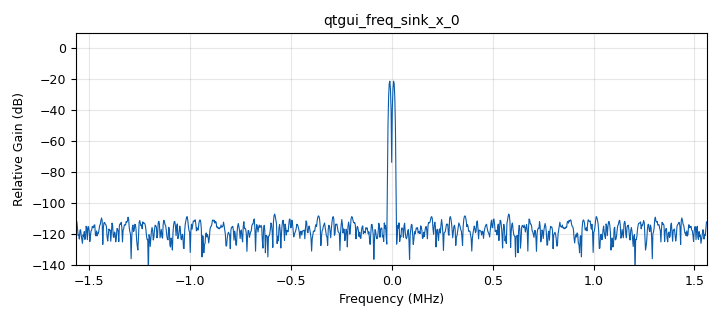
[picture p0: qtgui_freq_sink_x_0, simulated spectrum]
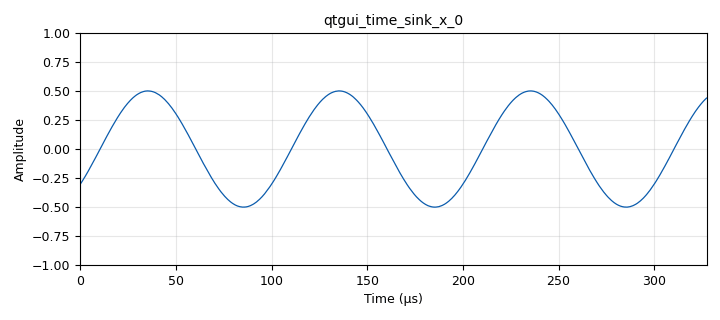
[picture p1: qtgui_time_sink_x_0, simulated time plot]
options:
  parameters:
    author: Daniel_Sarmiento_Kevin_Tellez
    generate_options: qt_gui
    id: LAB_2B
    output_language: python
    title: parte_2
  states: {}

blocks:
- name: A
  id: variable_qtgui_range
  parameters:
    label: 'Amplitud señal '
    start: '0'
    step: '1e-2'
    stop: '0.5'
    value: '0.5'
  states: {}
- name: GTX
  id: variable_qtgui_range
  parameters:
    label: Ganacia..transmisor
    start: '0'
    step: '0.5'
    stop: '30'
    value: '0.5'
  states: {}
- name: 'No'
  id: variable_qtgui_range
  parameters:
    label: 'Amplitud ruido '
    start: '0'
    step: '1e-6'
    stop: '1e-1'
    value: '1e-4'
  states: {}
- name: fc
  id: variable_qtgui_range
  parameters:
    label: Frecuencia portadora
    start: 50e6
    step: 1e5
    stop: 1e9
    value: 200e6
  states: {}
- name: fcut
  id: variable_qtgui_range
  parameters:
    start: '0'
    step: '100'
    stop: '1562500'
    value: '1562500'
  states: {}
- name: fm
  id: variable_qtgui_range
  parameters:
    label: 'Frecuencia de señal '
    start: '1000'
    step: '1000'
    stop: 1e6
    value: '10000'
  states: {}
- name: samp_rate
  id: variable
  parameters:
    value: '3125000'
  states: {}
- name: t_band
  id: variable_qtgui_range
  parameters:
    label: 'banda de trasmision '
    start: '0'
    step: '100'
    stop: '156250'
    value: '156250'
  states: {}
- name: analog_noise_source_x_0
  id: analog_noise_source_x
  parameters:
    amp: 'No'
    noise_type: analog.GR_GAUSSIAN
    seed: '0'
    type: float
  states: {}
- name: analog_sig_source_x_0
  id: analog_sig_source_x
  parameters:
    amp: A
    freq: fm
    offset: '0'
    phase: '0'
    samp_rate: samp_rate
    type: float
    waveform: analog.GR_COS_WAVE
  states: {}
- name: blocks_add_xx_1
  id: blocks_add_xx
  parameters:
    type: float
  states: {}
- name: blocks_float_to_complex_0
  id: blocks_float_to_complex
  parameters: {}
  states: {}
- name: blocks_throttle2_0
  id: blocks_throttle2
  parameters:
    samples_per_second: samp_rate
    type: float
  states: {}
- name: low_pass_filter_0
  id: low_pass_filter
  parameters:
    cutoff_freq: fcut
    decim: '1'
    gain: '1'
    samp_rate: samp_rate
    type: fir_filter_fff
    width: t_band
    win: window.WIN_HAMMING
  states: {}
- name: qtgui_freq_sink_x_0
  id: qtgui_freq_sink_x
  parameters:
    bw: samp_rate
    fc: '0'
    fftsize: '1024'
    type: float
  states: {}
- name: qtgui_time_sink_x_0
  id: qtgui_time_sink_x
  parameters:
    size: '1024'
    srate: samp_rate
    type: float
  states: {}
- name: uhd_usrp_sink_0
  id: uhd_usrp_sink
  parameters:
    ant0: '"TX/RX"'
    center_freq0: fc
    gain0: GTX
    samp_rate: samp_rate
    sync: pc_clock
    type: fc32
  states: {}

connections:
- [analog_noise_source_x_0, '0', blocks_add_xx_1, '1']
- [analog_sig_source_x_0, '0', blocks_throttle2_0, '0']
- [blocks_add_xx_1, '0', low_pass_filter_0, '0']
- [blocks_float_to_complex_0, '0', uhd_usrp_sink_0, '0']
- [blocks_throttle2_0, '0', blocks_add_xx_1, '0']
- [low_pass_filter_0, '0', blocks_float_to_complex_0, '0']
- [low_pass_filter_0, '0', qtgui_freq_sink_x_0, '0']
- [low_pass_filter_0, '0', qtgui_time_sink_x_0, '0']

metadata:
  file_format: 1
  grc_version: v3.11.0.0git-810-g1ecb8565
